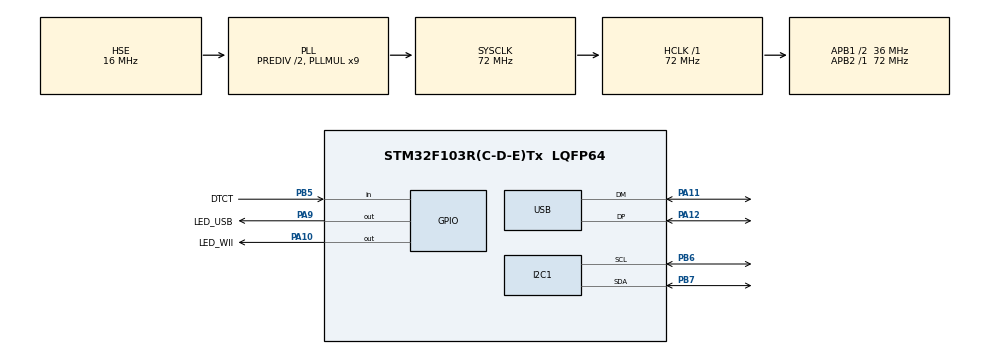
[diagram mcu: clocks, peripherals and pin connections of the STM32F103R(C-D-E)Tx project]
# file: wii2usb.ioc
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Mcu.Family=STM32F1
Mcu.Name=STM32F103R(C-D-E)Tx
Mcu.Package=LQFP64
NVIC.PriorityGroup=NVIC_PRIORITYGROUP_4
NVIC.USB_LP_CAN1_RX0_IRQn=true\:0\:0\:false\:false\:true\:false\:true\:true
PA10.GPIO_Label=LED_WII
PA10.Signal=GPIO_Output
PA11.Mode=Device
PA11.Signal=USB_DM
PA12.Mode=Device
PA12.Signal=USB_DP
PA13.Mode=Trace_Asynchronous_SW
PA13.Signal=SYS_JTMS-SWDIO
PA14.Mode=Trace_Asynchronous_SW
PA14.Signal=SYS_JTCK-SWCLK
PA9.GPIO_Label=LED_USB
PA9.Signal=GPIO_Output
PB3.Mode=Trace_Asynchronous_SW
PB3.Signal=SYS_JTDO-TRACESWO
PB5.GPIO_Label=DTCT
PB5.Signal=GPIO_Input
PB6.GPIO_Pu=GPIO_PULLUP
PB6.Mode=I2C
PB6.Signal=I2C1_SCL
PB7.GPIO_Pu=GPIO_PULLUP
PB7.Mode=I2C
PB7.Signal=I2C1_SDA
PD0-OSC_IN.Mode=HSE-External-Oscillator
PD0-OSC_IN.Signal=RCC_OSC_IN
PD1-OSC_OUT.Mode=HSE-External-Oscillator
PD1-OSC_OUT.Signal=RCC_OSC_OUT
ProjectManager.HeapSize=0x200
ProjectManager.StackSize=0x400
ProjectManager.TargetToolchain=STM32CubeIDE
RCC.AHBFreq_Value=72000000
RCC.APB1CLKDivider=RCC_HCLK_DIV2
RCC.APB1Freq_Value=36000000
RCC.APB1TimFreq_Value=72000000
RCC.APB2Freq_Value=72000000
RCC.APB2TimFreq_Value=72000000
RCC.HCLKFreq_Value=72000000
RCC.HSEDivPLL=RCC_HSE_PREDIV_DIV2
RCC.HSE_VALUE=16000000
RCC.PLLMUL=RCC_PLL_MUL9
RCC.PLLSourceVirtual=RCC_PLLSOURCE_HSE
RCC.SYSCLKFreq_VALUE=72000000
RCC.SYSCLKSource=RCC_SYSCLKSOURCE_PLLCLK
RCC.USBFreq_Value=48000000
RCC.USBPrescaler=RCC_USBCLKSOURCE_PLL_DIV1_5
USB_DEVICE.CLASS_NAME_FS=CUSTOM_HID
USB_DEVICE.CUSTOM_HID_FS_BINTERVAL=1
USB_DEVICE.MANUFACTURER_STRING=Cluster
USB_DEVICE.PID_CUSTOMHID_FS=0x00c1
USB_DEVICE.PRODUCT_STRING_CUSTOMHID_FS=Wii Accessory
USB_DEVICE.USBD_CUSTOMHID_OUTREPORT_BUF_SIZE=16
USB_DEVICE.USBD_CUSTOM_HID_REPORT_DESC_SIZE=80
USB_DEVICE.USBD_DEBUG_LEVEL=3
USB_DEVICE.VID=0x0f0d
USB_DEVICE.VirtualMode=CustomHid
USB_DEVICE.VirtualModeFS=Custom_Hid_FS
VP_USB_DEVICE_VS_USB_DEVICE_CUSTOM_HID_FS.Mode=CUSTOM_HID_FS
board=custom

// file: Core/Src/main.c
/* USER CODE BEGIN Header */
/**
 ******************************************************************************
 * @file           : main.c
 * @brief          : Main program body
 ******************************************************************************
 * @attention
 *
 * <h2><center>&copy; Copyright (c) 2020 STMicroelectronics.
 * All rights reserved.</center></h2>
 *
 * This software component is licensed by ST under BSD 3-Clause license,
 * the "License"; You may not use this file except in compliance with the
 * License. You may obtain a copy of the License at:
 *                        opensource.org/licenses/BSD-3-Clause
 *
 ******************************************************************************
 */
/* USER CODE END Header */
#include "main.h"
#include "usb_device.h"

/* USER CODE BEGIN Includes */
#include "usbd_customhid.h"
#include "wii_accessory.h"
/* USER CODE END Includes */

I2C_HandleTypeDef hi2c1;

/* USER CODE BEGIN PV */
extern USBD_HandleTypeDef hUsbDeviceFS;
/* USER CODE END PV */

void SystemClock_Config(void);
static void MX_GPIO_Init(void);
static void MX_I2C1_Init(void);

/* USER CODE BEGIN 0 */
int _write(int file, char *ptr, int len) {
	/* Implement your write code here, this is used by puts and printf for example */
	for (int i = 0; i < len; i++)
		ITM_SendChar((*ptr++));
	return len;
}
/* USER CODE END 0 */

int main(void)
{

  /* MCU Configuration--------------------------------------------------------*/

  /* Reset of all peripherals, Initializes the Flash interface and the Systick. */
  HAL_Init();

  /* Configure the system clock */
  SystemClock_Config();

  /* USER CODE BEGIN SysInit */
	__HAL_RCC_I2C1_CLK_ENABLE();
	HAL_Delay(100);
	__HAL_RCC_I2C1_FORCE_RESET();
	HAL_Delay(100);
	__HAL_RCC_I2C1_RELEASE_RESET();
	HAL_Delay(100);
  /* USER CODE END SysInit */

  /* Initialize all configured peripherals */
  MX_GPIO_Init();
  MX_I2C1_Init();
  MX_USB_DEVICE_Init();

  /* Infinite loop */
  /* USER CODE BEGIN WHILE */
	uint8_t errcode;
	Wii_Accessory_Data wii_accessory_data;
	USB_JoystickReport_Data_t joystick_data;

	while (1) {
		errcode = wii_accessory_poll(&hi2c1, &wii_accessory_data);
		if (errcode == HAL_OK) {
#ifdef DEBUG
			printf("Device type: %d, Data format: %d\r\n",
					wii_accessory_data.device_type,
					wii_accessory_data.data_format);
			printf(
					"jx=%d, jy=%d, rx=%d, ry=%d, tl=%d, tr=%d, acc_x=%d, acc_y=%d, acc_z=%d\r\n",
					wii_accessory_data.jx, wii_accessory_data.jy,
					wii_accessory_data.rx, wii_accessory_data.ry,
					wii_accessory_data.tl, wii_accessory_data.tr,
					wii_accessory_data.acc_x, wii_accessory_data.acc_y,
					wii_accessory_data.acc_z);
			printf(
					"left=%u, right=%u, up=%u, down=%u, a=%u, b=%u, x=%u, y=%u, select=%u, start=%u, home=%u, l=%u, r=%u, zl=%u, zr=%u, wtf=%u\r\n",
					wii_accessory_data.dpad_left, wii_accessory_data.dpad_right,
					wii_accessory_data.dpad_up, wii_accessory_data.dpad_down,
					wii_accessory_data.button_a, wii_accessory_data.button_b,
					wii_accessory_data.button_x, wii_accessory_data.button_y,
					wii_accessory_data.button_select,
					wii_accessory_data.button_start,
					wii_accessory_data.button_home, wii_accessory_data.button_l,
					wii_accessory_data.button_r, wii_accessory_data.button_zl,
					wii_accessory_data.button_zr, wii_accessory_data.wtf);
#endif
			memset(&joystick_data, 0, sizeof(joystick_data));
			joystick_data.LX = 0x80 + wii_accessory_data.jx;
			joystick_data.LY = 0x80 + wii_accessory_data.jy;
			if (wii_accessory_data.data_format == 0)
			{
				// Nunchuck
				// Accelerometers
				joystick_data.RX = 0x80 + wii_accessory_data.acc_x;
				joystick_data.RY = 0x80 + wii_accessory_data.acc_y;
				//joystick_data.ExtraX = 0x80 + wii_accessory_data.acc_z;
			} else {
				joystick_data.RX = 0x80 + wii_accessory_data.rx;
				joystick_data.RY = 0x80 + wii_accessory_data.ry;
				// Unsigned for trigger analog buttons
				//joystick_data.ExtraX = wii_accessory_data.tl;
				//joystick_data.ExtraY = wii_accessory_data.tr;
			}
			joystick_data.A = wii_accessory_data.button_a;
			joystick_data.B = wii_accessory_data.button_b;
			joystick_data.X = wii_accessory_data.button_x;
			joystick_data.Y = wii_accessory_data.button_y;
			joystick_data.L = wii_accessory_data.button_l;
			joystick_data.R = wii_accessory_data.button_r;
			joystick_data.ZL = wii_accessory_data.button_zl;
			joystick_data.ZR = wii_accessory_data.button_zr;
			joystick_data.minus = wii_accessory_data.button_select;
			joystick_data.plus = wii_accessory_data.button_start;

			if (wii_accessory_data.dpad_up && wii_accessory_data.dpad_right)
				joystick_data.hat_switch = 1;
			else if (wii_accessory_data.dpad_right && wii_accessory_data.dpad_down)
				joystick_data.hat_switch = 3;
			else if (wii_accessory_data.dpad_down && wii_accessory_data.dpad_left)
				joystick_data.hat_switch = 5;
			else if (wii_accessory_data.dpad_left && wii_accessory_data.dpad_up)
				joystick_data.hat_switch = 7;
			else if (wii_accessory_data.dpad_up)
				joystick_data.hat_switch = 0;
			else if (wii_accessory_data.dpad_right)
				joystick_data.hat_switch = 2;
			else if (wii_accessory_data.dpad_down)
				joystick_data.hat_switch = 4;
			else if (wii_accessory_data.dpad_left)
				joystick_data.hat_switch = 6;
			else
				joystick_data.hat_switch = 8;

			// L + R + Select + Start = Home
			if (wii_accessory_data.button_l
				&& wii_accessory_data.button_r
				&& wii_accessory_data.button_select
				&& wii_accessory_data.button_start)
				joystick_data.home |= 1;
		} else {
			memset(&joystick_data, 0, sizeof(joystick_data));
		}

		USBD_CUSTOM_HID_SendReport(&hUsbDeviceFS, (void*) &joystick_data,
				sizeof(joystick_data));

		switch (errcode) {
		case WII_ACCESSORY_OK:
			HAL_GPIO_WritePin(LED_WII_GPIO_Port, LED_WII_Pin, GPIO_PIN_RESET);
			break;
		case WII_ACCESSORY_NOT_CONNECTED:
			HAL_GPIO_WritePin(LED_WII_GPIO_Port, LED_WII_Pin, GPIO_PIN_SET);
			break;
		default:
			// Blink on error
			HAL_GPIO_WritePin(
			LED_WII_GPIO_Port, LED_WII_Pin,
					(HAL_GetTick() % 100 < 50) ? GPIO_PIN_SET : GPIO_PIN_RESET);
			break;
		}

		switch (hUsbDeviceFS.dev_state) {
		case USBD_STATE_CONFIGURED:
			HAL_GPIO_WritePin(LED_USB_GPIO_Port, LED_USB_Pin, GPIO_PIN_RESET);
			break;
		default:
			// Blink on error
			HAL_GPIO_WritePin(
			LED_USB_GPIO_Port, LED_USB_Pin,
					(HAL_GetTick() % 1000 > 100) ? GPIO_PIN_SET : GPIO_PIN_RESET);
			break;
		}

		//HAL_Delay(1);
    /* USER CODE END WHILE */

	}
}

void SystemClock_Config(void)
{
  RCC_OscInitTypeDef RCC_OscInitStruct = {0};
  RCC_ClkInitTypeDef RCC_ClkInitStruct = {0};
  RCC_PeriphCLKInitTypeDef PeriphClkInit = {0};

  /** Initializes the RCC Oscillators according to the specified parameters
  * in the RCC_OscInitTypeDef structure.
  */
  RCC_OscInitStruct.OscillatorType = RCC_OSCILLATORTYPE_HSE;
  RCC_OscInitStruct.HSEState = RCC_HSE_ON;
  RCC_OscInitStruct.HSEPredivValue = RCC_HSE_PREDIV_DIV2;
  RCC_OscInitStruct.HSIState = RCC_HSI_ON;
  RCC_OscInitStruct.PLL.PLLState = RCC_PLL_ON;
  RCC_OscInitStruct.PLL.PLLSource = RCC_PLLSOURCE_HSE;
  RCC_OscInitStruct.PLL.PLLMUL = RCC_PLL_MUL9;
  if (HAL_RCC_OscConfig(&RCC_OscInitStruct) != HAL_OK)
  {
    Error_Handler();
  }

  /** Initializes the CPU, AHB and APB buses clocks
  */
  RCC_ClkInitStruct.ClockType = RCC_CLOCKTYPE_HCLK|RCC_CLOCKTYPE_SYSCLK
                              |RCC_CLOCKTYPE_PCLK1|RCC_CLOCKTYPE_PCLK2;
  RCC_ClkInitStruct.SYSCLKSource = RCC_SYSCLKSOURCE_PLLCLK;
  RCC_ClkInitStruct.AHBCLKDivider = RCC_SYSCLK_DIV1;
  RCC_ClkInitStruct.APB1CLKDivider = RCC_HCLK_DIV2;
  RCC_ClkInitStruct.APB2CLKDivider = RCC_HCLK_DIV1;

  if (HAL_RCC_ClockConfig(&RCC_ClkInitStruct, FLASH_LATENCY_2) != HAL_OK)
  {
    Error_Handler();
  }
  PeriphClkInit.PeriphClockSelection = RCC_PERIPHCLK_USB;
  PeriphClkInit.UsbClockSelection = RCC_USBCLKSOURCE_PLL_DIV1_5;
  if (HAL_RCCEx_PeriphCLKConfig(&PeriphClkInit) != HAL_OK)
  {
    Error_Handler();
  }
}

static void MX_I2C1_Init(void)
{

  hi2c1.Instance = I2C1;
  hi2c1.Init.ClockSpeed = 100000;
  hi2c1.Init.DutyCycle = I2C_DUTYCYCLE_2;
  hi2c1.Init.OwnAddress1 = 0;
  hi2c1.Init.AddressingMode = I2C_ADDRESSINGMODE_7BIT;
  hi2c1.Init.DualAddressMode = I2C_DUALADDRESS_DISABLE;
  hi2c1.Init.OwnAddress2 = 0;
  hi2c1.Init.GeneralCallMode = I2C_GENERALCALL_DISABLE;
  hi2c1.Init.NoStretchMode = I2C_NOSTRETCH_DISABLE;
  if (HAL_I2C_Init(&hi2c1) != HAL_OK)
  {
    Error_Handler();
  }

}

static void MX_GPIO_Init(void)
{
  GPIO_InitTypeDef GPIO_InitStruct = {0};

  /* GPIO Ports Clock Enable */
  __HAL_RCC_GPIOD_CLK_ENABLE();
  __HAL_RCC_GPIOA_CLK_ENABLE();
  __HAL_RCC_GPIOB_CLK_ENABLE();

  /*Configure GPIO pin Output Level */
  HAL_GPIO_WritePin(GPIOA, LED_USB_Pin|LED_WII_Pin, GPIO_PIN_RESET);

  /*Configure GPIO pins : LED_USB_Pin LED_WII_Pin */
  GPIO_InitStruct.Pin = LED_USB_Pin|LED_WII_Pin;
  GPIO_InitStruct.Mode = GPIO_MODE_OUTPUT_PP;
  GPIO_InitStruct.Pull = GPIO_NOPULL;
  GPIO_InitStruct.Speed = GPIO_SPEED_FREQ_LOW;
  HAL_GPIO_Init(GPIOA, &GPIO_InitStruct);

  /*Configure GPIO pin : DTCT_Pin */
  GPIO_InitStruct.Pin = DTCT_Pin;
  GPIO_InitStruct.Mode = GPIO_MODE_INPUT;
  GPIO_InitStruct.Pull = GPIO_NOPULL;
  HAL_GPIO_Init(DTCT_GPIO_Port, &GPIO_InitStruct);

}

void Error_Handler(void)
{
}
